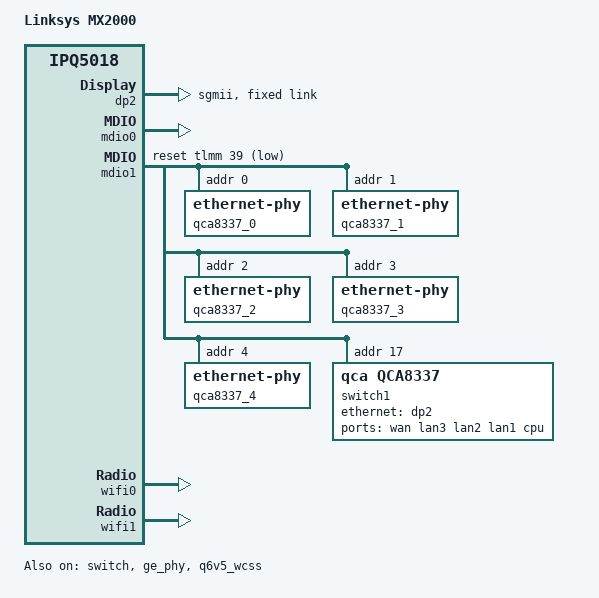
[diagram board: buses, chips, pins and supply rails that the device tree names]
/dts-v1/;

#include "ipq5018.dtsi"
#include "ipq5018-mx-base.dtsi"

/ {
	model = "Linksys MX2000";
	compatible = "linksys,mx2000", "qcom,ipq5018";
};

/*
 * ===============================================================
 *     _______________________         _______________________
 *    |        IPQ5018        |       |        QCA8337        |
 *    | +------+   +--------+ |       | +--------+   +------+ |
 *    | | MAC0 |---| GE Phy | |       | |  Phy0  |---| MAC1 | |
 *    | +------+   +--------+ |       | +--------+   +------+ |
 *    | +------+   +--------+ |       | +--------+   +------+ |
 *    | | MAC1 |---| Uniphy |-+-SGMII-+-| SerDes |---| MAC6 | |
 *    | +------+   +--------+ |       | +--------+   +------+ |
 *    |_______________________|       |_______________________|
 *
 * ===============================================================
 */

&switch {
	status = "okay";

	switch_mac_mode = <MAC_MODE_SGMII_CHANNEL0>;

	qcom,port_phyinfo {
		// MAC0 -> GE Phy -> QCA8337 Phy4
		port@0 {
			port_id = <1>;
			mdiobus = <&mdio0>;
			phy_address = <7>;
		};

		// MAC1 ---SGMII---> QCA8337 SerDes
		port@1 {
			port_id = <2>;
			forced-speed = <1000>;
			forced-duplex = <1>;
		};
	};
};

// MAC1 ---SGMII---> QCA8337 SerDes
&dp2 {
	status = "okay";
	phy-mode = "sgmii";

	fixed-link {
		speed = <1000>;
		full-duplex;
	};
};

&mdio0 {
	status = "okay";
};

/* IPQ5018 GE Phy -> Not connected
 * needs to be enabled for QSDK to identify the IPQ5018 dummy switch
 */
&ge_phy {
	status = "okay";
};

&mdio1 {
	status = "okay";

	pinctrl-0 = <&mdio1_pins>;
	pinctrl-names = "default";
	reset-gpios = <&tlmm 39 GPIO_ACTIVE_LOW>;

	// QCA8337 Phy0 not connected
	qca8337_0: ethernet-phy@0 {
		reg = <0>;
	};

	// QCA8337 Phy1 -> WAN
	qca8337_1: ethernet-phy@1 {
		reg = <1>;
	};

	// QCA8337 Phy2 -> LAN1
	qca8337_2: ethernet-phy@2 {
		reg = <2>;
	};

	// QCA8337 Phy3 -> LAN2
	qca8337_3: ethernet-phy@3 {
		reg = <3>;
	};

	// QCA8337 Phy4 -> LAN3
	qca8337_4: ethernet-phy@4 {
		reg = <4>;
	};

	// QCA8337 switch
	switch1: ethernet-switch@17 {
		compatible = "qca,qca8337";
		reg = <17>;
		#address-cells = <1>;
		#size-cells = <0>;

		ports {
			#address-cells = <1>;
			#size-cells = <0>;

			port@2 {
				reg = <2>;
				label = "wan";
				phy-handle = <&qca8337_1>;
			};

			port@3 {
				reg = <3>;
				label = "lan3";
				phy-handle = <&qca8337_2>;
			};

			port@4 {
				reg = <4>;
				label = "lan2";
				phy-handle = <&qca8337_3>;
			};

			port@5 {
				reg = <5>;
				label = "lan1";
				phy-handle = <&qca8337_4>;
			};

			port@6 {
				reg = <6>;
				label = "cpu";
				phy-mode = "sgmii";
				ethernet = <&dp2>;
				qca,sgmii-enable-pll;

				fixed-link {
					speed = <1000>;
					full-duplex;
				};
			};
		};
	};
};

&q6v5_wcss {
	status = "okay";

	memory-region = <&q6_mem_regions>;
	firmware-name = "ath11k/IPQ5018/hw1.0/q6_fw.mdt",
					"ath11k/IPQ5018/hw1.0/m3_fw.mdt",
					"ath11k/QCN6122/hw1.0/m3_fw.mdt";

	/* The QCN6102 radio should map to UPD ID 2. Without       */
	/* bootargs, the firmware will expect it to be on UPD ID 3 */
	boot-args = <
			/*       type:	*/	0x1	/* PCIE0	*/
			/*     length:	*/	4
			/*     UPD ID:	*/	2
			/* reset GPIO:	*/	15
			/*   reserved:	*/	0 0>;

	// IPQ5018
	q6_wcss_pd1: pd-1 {
		firmware-name = "ath11k/IPQ5018/hw1.0/q6_fw.mdt";

		resets =
			<&gcc GCC_WCSSAON_RESET>,
			<&gcc GCC_WCSS_BCR>,
			<&gcc GCC_CE_BCR>;
		reset-names =
			"wcss_aon_reset",
			"wcss_reset",
			"ce_reset";

		clocks =
			<&gcc GCC_WCSS_AHB_S_CLK>,
			<&gcc GCC_WCSS_ACMT_CLK>,
			<&gcc GCC_WCSS_AXI_M_CLK>;
		clock-names =
			"gcc_wcss_ahb_s_clk",
			"gcc_wcss_acmt_clk",
			"gcc_wcss_axi_m_clk";

		// qcom,halt-regs = <&tcsr_q6_block 0xa000 0xd000 0x0>;
		interrupts-extended =
			<&wcss_smp2p_in 8 IRQ_TYPE_NONE>,
			<&wcss_smp2p_in 9 IRQ_TYPE_NONE>,
			<&wcss_smp2p_in 12 IRQ_TYPE_NONE>,
			<&wcss_smp2p_in 11 IRQ_TYPE_NONE>;
		interrupt-names =
			"fatal",
			"ready",
			"spawn-ack",
			"stop-ack";

		qcom,smem-states =
			<&wcss_smp2p_out 8>,
			<&wcss_smp2p_out 9>,
			<&wcss_smp2p_out 10>;
		qcom,smem-state-names =
			"shutdown",
			"stop",
			"spawn";
		status = "okay";
	};

	// QCN6102 5G
	q6_wcss_pd2: pd-2 {
		firmware-name = "ath11k/IPQ5018/hw1.0/q6_fw.mdt";

		interrupts-extended =
			<&wcss_smp2p_in 16 IRQ_TYPE_NONE>,
			<&wcss_smp2p_in 17 IRQ_TYPE_NONE>,
			<&wcss_smp2p_in 20 IRQ_TYPE_NONE>,
			<&wcss_smp2p_in 19 IRQ_TYPE_NONE>;
		interrupt-names =
			"fatal",
			"ready",
			"spawn-ack",
			"stop-ack";

		qcom,smem-states =
			<&wcss_smp2p_out 16>,
			<&wcss_smp2p_out 17>,
			<&wcss_smp2p_out 18>;
		qcom,smem-state-names =
			"shutdown",
			"stop",
			"spawn";
		status = "okay";
	};
};

&wifi0 {
	// IPQ5018
	qcom,rproc = <&q6_wcss_pd1>;
	qcom,ath11k-calibration-variant = "Linksys-MX2000";
	qcom,ath11k-fw-memory-mode = <2>;
	qcom,bdf-addr = <0x4c400000>;

	status = "okay";
};

&wifi1 {
	// QCN6102 5G
	qcom,rproc = <&q6_wcss_pd2>;
	qcom,userpd-subsys-name = "q6v5_wcss_userpd2";
	qcom,ath11k-calibration-variant = "Linksys-MX2000";
	qcom,ath11k-fw-memory-mode = <2>;
	qcom,bdf-addr = <0x4d100000>;
	qcom,m3-dump-addr = <0x4df00000>;

	status = "okay";
};
